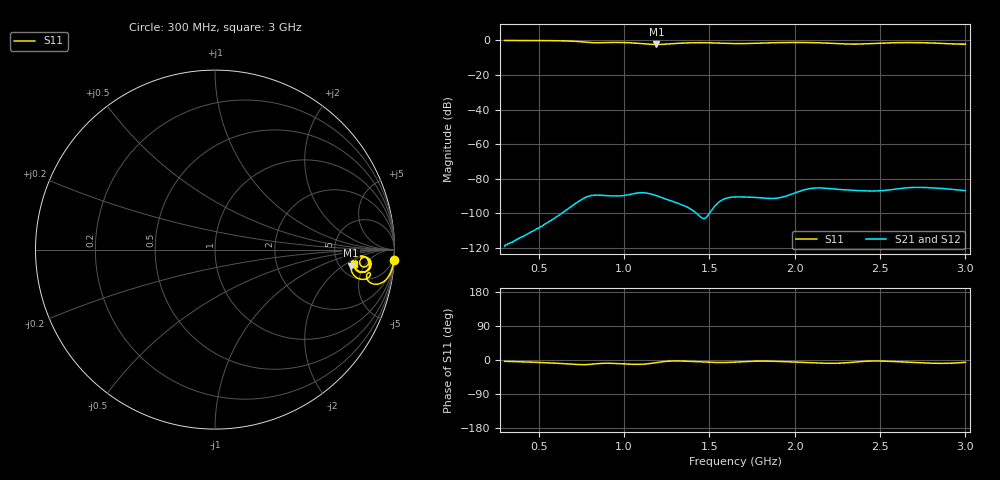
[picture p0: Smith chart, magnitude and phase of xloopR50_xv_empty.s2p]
! xloopR50_xv_empty, gap C 0.80 pF
! simulated by sim/fixtures_fdtd.py (S12 = S21, S22 not computed)
# HZ S RI R 50
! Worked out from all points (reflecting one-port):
!   541 points, 300 MHz to 3 GHz, reference 50 ohm
!   lowest |S11| = -2.3 dB at 1.19 GHz (marker M1), VSWR 7.44, Z = 312 - j135 ohm
!   phase of S11 starts at -3 deg and turns -3 deg over the sweep
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3e8  0.9964 -0.0593  -1e-07 -1.1e-06  -1e-07 -1.1e-06  0 0
6e8  0.9708 -0.1442  -4.9e-06 -5.8e-06  -4.9e-06 -5.8e-06  0 0
7.5e8  0.8932 -0.1931  -2.46e-05 2.2e-06  -2.46e-05 2.2e-06  0 0
8.15e8  0.847 -0.1635  -2.21e-05 2.41e-05  -2.21e-05 2.41e-05  0 0
8.85e8  0.8559 -0.1295  -2.3e-06 3.23e-05  -2.3e-06 3.23e-05  0 0
9.8e8  0.8621 -0.1494  1.6e-05 2.73e-05  1.6e-05 2.73e-05  0 0
1.085e9  0.8053 -0.1634  3.67e-05 1.2e-05  3.67e-05 1.2e-05  0 0
1.19e9  0.7577 -0.0903  2.59e-05 -1.88e-05  2.59e-05 -1.88e-05  0 0
1.2e9  0.7595 -0.0812  2.35e-05 -1.98e-05  2.35e-05 -1.98e-05  0 0
1.29e9  0.8085 -0.0363  8e-06 -1.98e-05  8e-06 -1.98e-05  0 0
1.41e9  0.8549 -0.0617  -4e-07 -1.13e-05  -4e-07 -1.13e-05  0 0
1.545e9  0.8357 -0.0964  1.27e-05 -1.37e-05  1.27e-05 -1.37e-05  0 0
1.65e9  0.8069 -0.078  -4.6e-06 -2.91e-05  -4.6e-06 -2.91e-05  0 0
1.825e9  0.8438 -0.0432  -2.38e-05 -1.31e-05  -2.38e-05 -1.31e-05  0 0
2.1e9  0.8582 -0.111  -4.23e-05 3.08e-05  -4.23e-05 3.08e-05  0 0
2.225e9  0.8115 -0.1248  -3.9e-06 5.01e-05  -3.9e-06 5.01e-05  0 0
2.33e9  0.7777 -0.0844  2.01e-05 4.15e-05  2.01e-05 4.15e-05  0 0
2.435e9  0.8062 -0.041  3.42e-05 2.72e-05  3.42e-05 2.72e-05  0 0
2.55e9  0.8497 -0.0512  4.52e-05 1.11e-05  4.52e-05 1.11e-05  0 0
2.685e9  0.8606 -0.0933  4.93e-05 -2.49e-05  4.93e-05 -2.49e-05  0 0
2.825e9  0.8253 -0.1264  1.62e-05 -5.09e-05  1.62e-05 -5.09e-05  0 0
3e9  0.775 -0.0822  -1.99e-05 -4e-05  -1.99e-05 -4e-05  0 0
